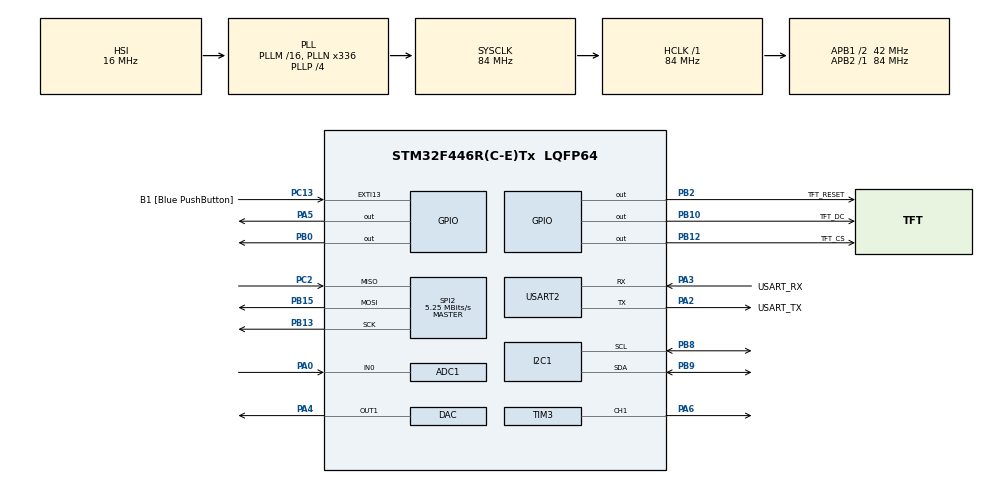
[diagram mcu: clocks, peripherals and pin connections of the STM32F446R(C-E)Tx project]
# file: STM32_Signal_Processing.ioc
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ADC1.Channel-0\#ChannelRegularConversion=ADC_CHANNEL_0
ADC1.DMAContinuousRequests=ENABLE
ADC1.ExternalTrigConv=ADC_EXTERNALTRIGCONV_T2_TRGO
ADC1.NbrOfConversion=1
ADC1.NbrOfConversionFlag=1
ADC1.Rank-0\#ChannelRegularConversion=1
ADC1.SamplingTime-0\#ChannelRegularConversion=ADC_SAMPLETIME_3CYCLES
ADC1.master=1
DAC.DAC_Trigger=DAC_TRIGGER_T6_TRGO
Dma.ADC1.0.Direction=DMA_PERIPH_TO_MEMORY
Dma.ADC1.0.FIFOMode=DMA_FIFOMODE_DISABLE
Dma.ADC1.0.Instance=DMA2_Stream0
Dma.ADC1.0.MemDataAlignment=DMA_MDATAALIGN_HALFWORD
Dma.ADC1.0.MemInc=DMA_MINC_ENABLE
Dma.ADC1.0.Mode=DMA_CIRCULAR
Dma.ADC1.0.PeriphDataAlignment=DMA_PDATAALIGN_HALFWORD
Dma.ADC1.0.PeriphInc=DMA_PINC_DISABLE
Dma.ADC1.0.Priority=DMA_PRIORITY_HIGH
Dma.DAC1.1.Direction=DMA_MEMORY_TO_PERIPH
Dma.DAC1.1.FIFOMode=DMA_FIFOMODE_DISABLE
Dma.DAC1.1.Instance=DMA1_Stream5
Dma.DAC1.1.MemDataAlignment=DMA_MDATAALIGN_HALFWORD
Dma.DAC1.1.MemInc=DMA_MINC_ENABLE
Dma.DAC1.1.Mode=DMA_CIRCULAR
Dma.DAC1.1.PeriphDataAlignment=DMA_PDATAALIGN_HALFWORD
Dma.DAC1.1.PeriphInc=DMA_PINC_DISABLE
Dma.DAC1.1.Priority=DMA_PRIORITY_LOW
Dma.Request0=ADC1
Dma.Request1=DAC1
FREERTOS.Queues01=frequencyQueue,4,float32_t,0,Dynamic,NULL,NULL
FREERTOS.Tasks01=uartTask,24,512,StartDefaultTask,Default,NULL,Dynamic,NULL,NULL;fftTask,32,1024,StartTask02,Default,NULL,Dynamic,NULL,NULL
FREERTOS.configUSE_NEWLIB_REENTRANT=1
Mcu.Family=STM32F4
Mcu.Name=STM32F446R(C-E)Tx
Mcu.Package=LQFP64
NVIC.DMA1_Stream5_IRQn=true\:5\:0\:false\:false\:true\:true\:false\:true\:true
NVIC.DMA2_Stream0_IRQn=true\:5\:0\:false\:false\:true\:true\:false\:true\:true
NVIC.PriorityGroup=NVIC_PRIORITYGROUP_4
NVIC.TIM2_IRQn=true\:5\:0\:false\:false\:true\:true\:true\:true\:true
NVIC.TIM7_IRQn=true\:15\:0\:false\:false\:true\:false\:false\:true\:true
NVIC.TimeBase=TIM7_IRQn
NVIC.TimeBaseIP=TIM7
PA0-WKUP.Signal=ADCx_IN0
PA13.GPIO_Label=TMS
PA13.Mode=Serial_Wire
PA13.Signal=SYS_JTMS-SWDIO
PA14.GPIO_Label=TCK
PA14.Mode=Serial_Wire
PA14.Signal=SYS_JTCK-SWCLK
PA2.GPIO_Label=USART_TX
PA2.Mode=Asynchronous
PA2.Signal=USART2_TX
PA3.GPIO_Label=USART_RX
PA3.Mode=Asynchronous
PA3.Signal=USART2_RX
PA4.Signal=COMP_DAC1_group
PA5.Signal=GPIO_Output
PA6.Signal=S_TIM3_CH1
PB0.Signal=GPIO_Output
PB10.GPIO_Label=TFT_DC
PB10.Signal=GPIO_Output
PB12.GPIO_Label=TFT_CS
PB12.PinState=GPIO_PIN_SET
PB12.Signal=GPIO_Output
PB13.Mode=Full_Duplex_Master
PB13.Signal=SPI2_SCK
PB15.Mode=Full_Duplex_Master
PB15.Signal=SPI2_MOSI
PB2.GPIO_Label=TFT_RESET
PB2.PinState=GPIO_PIN_SET
PB2.Signal=GPIO_Output
PB3.GPIO_Label=SWO
PB3.Signal=SYS_JTDO-SWO
PB8.Mode=I2C
PB8.Signal=I2C1_SCL
PB9.Mode=I2C
PB9.Signal=I2C1_SDA
PC13.GPIO_Label=B1 [Blue PushButton]
PC13.GPIO_ModeDefaultEXTI=GPIO_MODE_IT_FALLING
PC13.Signal=GPXTI13
PC14-OSC32_IN.Mode=LSE-External-Oscillator
PC14-OSC32_IN.Signal=RCC_OSC32_IN
PC15-OSC32_OUT.Mode=LSE-External-Oscillator
PC15-OSC32_OUT.Signal=RCC_OSC32_OUT
PC2.Mode=Full_Duplex_Master
PC2.Signal=SPI2_MISO
PH0-OSC_IN.Mode=HSE-External-Oscillator
PH0-OSC_IN.Signal=RCC_OSC_IN
PH1-OSC_OUT.Mode=HSE-External-Oscillator
PH1-OSC_OUT.Signal=RCC_OSC_OUT
ProjectManager.HeapSize=0x200
ProjectManager.StackSize=0x400
ProjectManager.TargetToolchain=STM32CubeIDE
RCC.48MHZClocksFreq_Value=84000000
RCC.AHBFreq_Value=84000000
RCC.APB1CLKDivider=RCC_HCLK_DIV2
RCC.APB1Freq_Value=42000000
RCC.APB1TimFreq_Value=84000000
RCC.APB2Freq_Value=84000000
RCC.APB2TimFreq_Value=84000000
RCC.CortexFreq_Value=84000000
RCC.FLatency-AdvancedSettings=FLASH_LATENCY_2
RCC.HCLKFreq_Value=84000000
RCC.HSE_VALUE=8000000
RCC.HSI_VALUE=16000000
RCC.PLLN=336
RCC.PLLP=RCC_PLLP_DIV4
RCC.SYSCLKFreq_VALUE=84000000
RCC.SYSCLKSource=RCC_SYSCLKSOURCE_PLLCLK
RCC.USBFreq_Value=168000000
RCC.VCOOutputFreq_Value=336000000
SH.ADCx_IN0.0=ADC1_IN0,IN0
SH.COMP_DAC1_group.0=DAC_OUT1,DAC_OUT1
SH.S_TIM3_CH1.0=TIM3_CH1,PWM Generation1 CH1
SPI2.BaudRatePrescaler=SPI_BAUDRATEPRESCALER_8
SPI2.CalculateBaudRate=5.25 MBits/s
SPI2.Direction=SPI_DIRECTION_2LINES
SPI2.Mode=SPI_MODE_MASTER
SPI2.VirtualType=VM_MASTER
TIM2.Period=61
TIM2.Prescaler=83
TIM2.TIM_MasterOutputTrigger=TIM_TRGO_UPDATE
TIM3.Channel-PWM\ Generation1\ CH1=TIM_CHANNEL_1
TIM3.Period=999
TIM3.Prescaler=83
TIM3.Pulse-PWM\ Generation1\ CH1=500
TIM6.Period=49
TIM6.Prescaler=104
TIM6.TIM_MasterOutputTrigger=TIM_TRGO_UPDATE
USART2.VirtualMode=VM_ASYNC
VP_FREERTOS_VS_CMSIS_V2.Mode=CMSIS_V2
VP_SYS_VS_tim7.Mode=TIM7
VP_TIM2_VS_ClockSourceINT.Mode=Internal
VP_TIM6_VS_ClockSourceINT.Mode=Enable_Timer
board=NUCLEO-F446RE

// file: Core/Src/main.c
/* USER CODE BEGIN Header */
/**
  ******************************************************************************
  * @file           : main.c
  * @brief          : Main program body
  ******************************************************************************
  * @attention
  *
  * Copyright (c) 2026 STMicroelectronics.
  * All rights reserved.
  *
  * This software is licensed under terms that can be found in the LICENSE file
  * in the root directory of this software component.
  * If no LICENSE file comes with this software, it is provided AS-IS.
  *
  ******************************************************************************
  */
/* USER CODE END Header */
#include "main.h"
#include "cmsis_os.h"

/* USER CODE BEGIN Includes */
#include <math.h>
#include "arm_math.h"
#include <stdio.h>
#include <string.h>
#include "queue.h"
#include "aht20.h"
#include "bmp280.h"
#include "sensor_task.h"
#include "st7735.h"
/* USER CODE END Includes */

/* USER CODE BEGIN PV */

/* Private variables ---------------------------------------------------------*/
ADC_HandleTypeDef hadc1;
DMA_HandleTypeDef hdma_adc1;

DAC_HandleTypeDef hdac;
DMA_HandleTypeDef hdma_dac1;

I2C_HandleTypeDef hi2c1;

SPI_HandleTypeDef hspi2;

TIM_HandleTypeDef htim2;
TIM_HandleTypeDef htim3;
TIM_HandleTypeDef htim6;

UART_HandleTypeDef huart2;

/* Definitions for uartTask */
osThreadId_t uartTaskHandle;
const osThreadAttr_t uartTask_attributes = {
  .name = "uartTask",
  .stack_size = 512 * 4,
  .priority = (osPriority_t) osPriorityNormal,
};
/* Definitions for fftTask */
osThreadId_t fftTaskHandle;
TaskHandle_t fftTaskNativeHandle = NULL;
const osThreadAttr_t fftTask_attributes = {
  .name = "fftTask",
  .stack_size = 1024 * 4,
  .priority = (osPriority_t) osPriorityAboveNormal,
};
/* Definitions for frequencyQueue */
osMessageQueueId_t frequencyQueueHandle;
osMessageQueueId_t tftFrequencyQueueHandle;
const osMessageQueueAttr_t frequencyQueue_attributes = {
  .name = "frequencyQueue"
};
osMessageQueueId_t adcEventQueueHandle;
osMessageQueueId_t sensorDataQueueHandle;
osMessageQueueId_t tftDataQueueHandle;
osThreadId_t sensorTaskHandle;
osThreadId_t sensorPrintTaskHandle;

volatile uint32_t main_counter = 0;
volatile uint32_t adc_value = 0;
volatile uint32_t adc_millivolts = 0;

#define ADC_BUFFER_SIZE 2048
uint16_t adc_buffer[ADC_BUFFER_SIZE];
volatile uint32_t adc_half_count = 0;
volatile uint32_t adc_full_count = 0;
volatile uint32_t adc_event_queue_overflow_count = 0;

/* CMSIS-DSP FFT */
#define FFT_SIZE 1024

float32_t fft_input[FFT_SIZE];
float32_t fft_output[FFT_SIZE];
float32_t fft_magnitude[FFT_SIZE / 2];
float32_t hann_window[FFT_SIZE];

volatile uint32_t fft_complete_count = 0;

volatile uint32_t fft_half_processed_count = 0;
volatile uint32_t fft_full_processed_count = 0;

volatile uint32_t fft_peak_bin = 0;
volatile float32_t fft_peak_frequency = 0.0f;
uint32_t fft_sample_index = 0;

arm_rfft_fast_instance_f32 fft_instance;

#define DAC_BUFFER_SIZE 256

uint16_t dac_buffer[DAC_BUFFER_SIZE];

osMutexId_t i2c1MutexHandle;
osMutexId_t uartMutexHandle;

/* USER CODE END PV */

void SystemClock_Config(void);
static void MX_GPIO_Init(void);
static void MX_DMA_Init(void);
static void MX_USART2_UART_Init(void);
static void MX_ADC1_Init(void);
static void MX_TIM2_Init(void);
static void MX_DAC_Init(void);
static void MX_TIM6_Init(void);
static void MX_TIM3_Init(void);
static void MX_I2C1_Init(void);
static void MX_SPI2_Init(void);
void StartDefaultTask(void *argument);
void StartTask02(void *argument);

/* USER CODE BEGIN PFP */
void ProcessFFT(void);
/* USER CODE END PFP */

/* USER CODE BEGIN 0 */
int __io_putchar(int ch)
{
    HAL_UART_Transmit(&huart2, (uint8_t *)&ch, 1, HAL_MAX_DELAY);
    return ch;
}
/* USER CODE END 0 */

int main(void)
{

  /* MCU Configuration--------------------------------------------------------*/

  /* Reset of all peripherals, Initializes the Flash interface and the Systick. */
  HAL_Init();

  /* Configure the system clock */
  SystemClock_Config();

  /* Initialize all configured peripherals */
  MX_GPIO_Init();
  MX_DMA_Init();
  MX_USART2_UART_Init();
  MX_ADC1_Init();
  MX_TIM2_Init();
  MX_DAC_Init();
  MX_TIM6_Init();
  MX_TIM3_Init();
  MX_I2C1_Init();
  MX_SPI2_Init();
  /* USER CODE BEGIN 2 */

  if (ST7735_Init(&hspi2) != HAL_OK)
  {
      Error_Handler();
  }

  ST7735_FillScreen(ST7735_BLACK);

  HAL_StatusTypeDef aht20_status;
  HAL_StatusTypeDef bmp280_76_status;
  HAL_StatusTypeDef bmp280_77_status;

  aht20_status = HAL_I2C_IsDeviceReady(&hi2c1,
                                       (0x38 << 1),
                                       3,
                                       100);

  bmp280_76_status = HAL_I2C_IsDeviceReady(&hi2c1,
                                          (0x76 << 1),
                                          3,
                                          100);

  bmp280_77_status = HAL_I2C_IsDeviceReady(&hi2c1,
                                          (0x77 << 1),
                                          3,
                                          100);

  printf("AHT20 (0x38): %s\r\n",
         (aht20_status == HAL_OK) ? "FOUND" : "NOT FOUND");

  printf("BMP280 (0x76): %s\r\n",
         (bmp280_76_status == HAL_OK) ? "FOUND" : "NOT FOUND");

  printf("BMP280 (0x77): %s\r\n",
         (bmp280_77_status == HAL_OK) ? "FOUND" : "NOT FOUND");

  HAL_StatusTypeDef aht20_init_status;

  aht20_init_status = AHT20_Init(&hi2c1);

  printf("AHT20 initialisation: %s\r\n",
         (aht20_init_status == HAL_OK) ? "OK" : "FAILED");

  float aht20_temperature = 0.0f;
  float aht20_humidity = 0.0f;

  HAL_StatusTypeDef aht20_read_status;

  aht20_read_status = AHT20_Read(&hi2c1,
                                 &aht20_temperature,
                                 &aht20_humidity);

  if (aht20_read_status == HAL_OK)
  {
      printf("AHT20 Temperature: %.2f C\r\n", aht20_temperature);
      printf("AHT20 Humidity: %.2f %%\r\n", aht20_humidity);
  }
  else
  {
      printf("AHT20 measurement failed: %d\r\n",
             (int)aht20_read_status);
  }

  /* ---------- BMP280 chip ID ---------- */

  uint8_t bmp280_chip_id = 0;
  HAL_StatusTypeDef bmp280_id_status;

  bmp280_id_status = BMP280_ReadChipID(&hi2c1, &bmp280_chip_id);

  if (bmp280_id_status == HAL_OK)
  {
      printf("BMP280 Chip ID: 0x%02X\r\n", bmp280_chip_id);

      if (bmp280_chip_id == 0x58)
      {
          printf("BMP280 chip ID check: PASS\r\n");
      }
      else
      {
          printf("BMP280 chip ID check: UNEXPECTED ID\r\n");
      }
  }
  else
  {
      printf("BMP280 chip ID read failed: %d\r\n",
             (int)bmp280_id_status);
  }

  /* ---------- BMP280 initialisation ---------- */

  HAL_StatusTypeDef bmp280_init_status;

  bmp280_init_status = BMP280_Init(&hi2c1);

  printf("BMP280 initialisation: %s\r\n",
         (bmp280_init_status == HAL_OK) ? "OK" : "FAILED");

  if (bmp280_init_status != HAL_OK)
  {
      printf("Stopping BMP280 test because initialisation failed.\r\n");
  }
  else
  {
      /* ---------- Read calibration coefficients ---------- */

      BMP280_Calibration bmp280_cal;
      HAL_StatusTypeDef bmp280_cal_status;

      bmp280_cal_status = BMP280_ReadCalibration(&hi2c1, &bmp280_cal);

      if (bmp280_cal_status == HAL_OK)
      {
          printf("BMP280 Calibration:\r\n");

          printf("T1=%u, T2=%d, T3=%d\r\n",
                 (unsigned int)bmp280_cal.dig_T1,
                 (int)bmp280_cal.dig_T2,
                 (int)bmp280_cal.dig_T3);

          printf("P1=%u, P2=%d, P3=%d\r\n",
                 (unsigned int)bmp280_cal.dig_P1,
                 (int)bmp280_cal.dig_P2,
                 (int)bmp280_cal.dig_P3);

          printf("P4=%d, P5=%d, P6=%d\r\n",
                 (int)bmp280_cal.dig_P4,
                 (int)bmp280_cal.dig_P5,
                 (int)bmp280_cal.dig_P6);

          printf("P7=%d, P8=%d, P9=%d\r\n",
                 (int)bmp280_cal.dig_P7,
                 (int)bmp280_cal.dig_P8,
                 (int)bmp280_cal.dig_P9);

          /* ---------- Compare two raw readings ---------- */

          uint32_t raw_pressure_1 = 0;
          uint32_t raw_temperature_1 = 0;
          uint32_t raw_pressure_2 = 0;
          uint32_t raw_temperature_2 = 0;

          HAL_StatusTypeDef raw_status_1;
          HAL_StatusTypeDef raw_status_2;

          raw_status_1 = BMP280_ReadRawData(
              &hi2c1,
              &raw_pressure_1,
              &raw_temperature_1);

          HAL_Delay(10);

          raw_status_2 = BMP280_ReadRawData(
              &hi2c1,
              &raw_pressure_2,
              &raw_temperature_2);

          if (raw_status_1 == HAL_OK)
          {
              printf("Raw reading 1: pressure=%lu, temperature=%lu\r\n",
                     (unsigned long)raw_pressure_1,
                     (unsigned long)raw_temperature_1);
          }
          else
          {
              printf("Raw reading 1 failed: %d\r\n",
                     (int)raw_status_1);
          }

          if (raw_status_2 == HAL_OK)
          {
              printf("Raw reading 2: pressure=%lu, temperature=%lu\r\n",
                     (unsigned long)raw_pressure_2,
                     (unsigned long)raw_temperature_2);
          }
          else
          {
              printf("Raw reading 2 failed: %d\r\n",
                     (int)raw_status_2);
          }

          /* ---------- Read compensated temperature ---------- */

          float bmp280_temperature = 0.0f;
          HAL_StatusTypeDef bmp280_temp_status;

          bmp280_temp_status = BMP280_ReadTemperature(
              &hi2c1,
              &bmp280_cal,
              &bmp280_temperature);

          if (bmp280_temp_status == HAL_OK)
          {
              printf("BMP280 Temperature: %.2f C\r\n",
                     bmp280_temperature);
          }
          else
          {
              printf("BMP280 temperature read failed: %d\r\n",
                     (int)bmp280_temp_status);
          }

          /* ---------- Read compensated pressure ---------- */

          float bmp280_pressure_hpa = 0.0f;
          HAL_StatusTypeDef bmp280_pressure_status;

          /*
           * ReadTemperature() must run first because it calculates
           * bmp280_t_fine, which the pressure compensation uses.
           */
          if (bmp280_temp_status == HAL_OK)
          {
              bmp280_pressure_status = BMP280_ReadPressure(
                  &hi2c1,
                  &bmp280_cal,
                  &bmp280_pressure_hpa);

              if (bmp280_pressure_status == HAL_OK)
              {
                  printf("BMP280 Pressure: %.2f hPa\r\n",
                         bmp280_pressure_hpa);
              }
              else
              {
                  printf("BMP280 pressure read failed: %d\r\n",
                         (int)bmp280_pressure_status);
              }
          }
          else
          {
              printf("Skipping pressure compensation because "
                     "temperature reading failed.\r\n");
          }
      }
      else
      {
          printf("BMP280 calibration read failed: %d\r\n",
                 (int)bmp280_cal_status);
      }
  }

  arm_rfft_fast_init_f32(&fft_instance, FFT_SIZE);

  /* Pre-calculate the Hann window coefficients. */
  for (uint32_t i = 0; i < FFT_SIZE; i++)
  {
      hann_window[i] = 0.5f * (1.0f - cosf(
          (2.0f * 3.14159265358979f * (float32_t)i)
          / (float32_t)(FFT_SIZE - 1)
      ));
  }

  for (uint32_t i = 0; i < DAC_BUFFER_SIZE; i++)
  {
      float32_t angle = 2.0f * 3.14159265358979f
                      * (float32_t)i / (float32_t)DAC_BUFFER_SIZE;

      dac_buffer[i] = (uint16_t)(1241.0f + 1241.0f * sinf(angle));
  }

  /* USER CODE END 2 */

  /* Init scheduler */
  osKernelInitialize();

  /* USER CODE BEGIN RTOS_MUTEX */
  i2c1MutexHandle = osMutexNew(NULL);

  if (i2c1MutexHandle == NULL)
  {
      Error_Handler();
  }

  /* Create mutex to protect UART transmissions. */
  uartMutexHandle = osMutexNew(NULL);

  if (uartMutexHandle == NULL)
  {
      Error_Handler();
  }
  /* USER CODE END RTOS_MUTEX */

  /* USER CODE BEGIN RTOS_QUEUES */
  /* Create the queue(s) */
  /* creation of frequencyQueue */
  frequencyQueueHandle = osMessageQueueNew (4, sizeof(float32_t), &frequencyQueue_attributes);
  tftFrequencyQueueHandle = osMessageQueueNew(
      4, sizeof(float32_t), NULL);

  if (tftFrequencyQueueHandle == NULL)
  {
      Error_Handler();
  }
  adcEventQueueHandle = osMessageQueueNew(
        8,
        sizeof(uint32_t),
        NULL);
  sensorDataQueueHandle = osMessageQueueNew(
      4,
      sizeof(SensorData),
      NULL
  );
  if (sensorDataQueueHandle == NULL)
  {
      Error_Handler();
  }
  tftDataQueueHandle = osMessageQueueNew(4, sizeof(SensorData), NULL);

  if (tftDataQueueHandle == NULL)
  {
      Error_Handler();
  }
  /* USER CODE END RTOS_QUEUES */

  /* USER CODE BEGIN RTOS_THREADS */

  /* Create the thread(s) */
  /* creation of uartTask */
  uartTaskHandle = osThreadNew(StartDefaultTask, NULL, &uartTask_attributes);

  /* creation of fftTask */
  fftTaskHandle = osThreadNew(StartTask02, NULL, &fftTask_attributes);
  fftTaskNativeHandle = (TaskHandle_t)fftTaskHandle;

  const osThreadAttr_t sensorTask_attributes = {
      .name = "SensorTask",
      .stack_size = 1024,
      .priority = osPriorityNormal
  };

  sensorTaskHandle = osThreadNew(
      StartSensorTask,
      NULL,
      &sensorTask_attributes
  );

  if (sensorTaskHandle == NULL)
  {
      Error_Handler();
  }

  const osThreadAttr_t sensorPrintTask_attributes = {
      .name = "SensorPrintTask",
      .stack_size = 1024,
      .priority = osPriorityBelowNormal
  };

  sensorPrintTaskHandle = osThreadNew(
      StartSensorPrintTask,
      NULL,
      &sensorPrintTask_attributes
  );

  if (sensorPrintTaskHandle == NULL)
  {
      Error_Handler();
  }

  const osThreadAttr_t tftTask_attributes = {
      .name = "TFTTask",
      .stack_size = 1024,
      .priority = osPriorityBelowNormal
  };

  osThreadId_t tftTaskHandle = osThreadNew(StartTFTTask, NULL,
                                           &tftTask_attributes);

  if (tftTaskHandle == NULL)
  {
      Error_Handler();
  }

  /* USER CODE END RTOS_THREADS */

  /* Start scheduler */
  osKernelStart();

  /* We should never get here as control is now taken by the scheduler */

  /* Infinite loop */
  while (1)
  {

  }
}

void SystemClock_Config(void)
{
  RCC_OscInitTypeDef RCC_OscInitStruct = {0};
  RCC_ClkInitTypeDef RCC_ClkInitStruct = {0};

  /** Configure the main internal regulator output voltage
  */
  __HAL_RCC_PWR_CLK_ENABLE();
  __HAL_PWR_VOLTAGESCALING_CONFIG(PWR_REGULATOR_VOLTAGE_SCALE3);

  /** Initializes the RCC Oscillators according to the specified parameters
  * in the RCC_OscInitTypeDef structure.
  */
  RCC_OscInitStruct.OscillatorType = RCC_OSCILLATORTYPE_HSI;
  RCC_OscInitStruct.HSIState = RCC_HSI_ON;
  RCC_OscInitStruct.HSICalibrationValue = RCC_HSICALIBRATION_DEFAULT;
  RCC_OscInitStruct.PLL.PLLState = RCC_PLL_ON;
  RCC_OscInitStruct.PLL.PLLSource = RCC_PLLSOURCE_HSI;
  RCC_OscInitStruct.PLL.PLLM = 16;
  RCC_OscInitStruct.PLL.PLLN = 336;
  RCC_OscInitStruct.PLL.PLLP = RCC_PLLP_DIV4;
  RCC_OscInitStruct.PLL.PLLQ = 2;
  RCC_OscInitStruct.PLL.PLLR = 2;
  if (HAL_RCC_OscConfig(&RCC_OscInitStruct) != HAL_OK)
  {
    Error_Handler();
  }

  /** Initializes the CPU, AHB and APB buses clocks
  */
  RCC_ClkInitStruct.ClockType = RCC_CLOCKTYPE_HCLK|RCC_CLOCKTYPE_SYSCLK
                              |RCC_CLOCKTYPE_PCLK1|RCC_CLOCKTYPE_PCLK2;
  RCC_ClkInitStruct.SYSCLKSource = RCC_SYSCLKSOURCE_PLLCLK;
  RCC_ClkInitStruct.AHBCLKDivider = RCC_SYSCLK_DIV1;
  RCC_ClkInitStruct.APB1CLKDivider = RCC_HCLK_DIV2;
  RCC_ClkInitStruct.APB2CLKDivider = RCC_HCLK_DIV1;

  if (HAL_RCC_ClockConfig(&RCC_ClkInitStruct, FLASH_LATENCY_2) != HAL_OK)
  {
    Error_Handler();
  }
}

static void MX_ADC1_Init(void)
{

  ADC_ChannelConfTypeDef sConfig = {0};

  /** Configure the global features of the ADC (Clock, Resolution, Data Alignment and number of conversion)
  */
  hadc1.Instance = ADC1;
  hadc1.Init.ClockPrescaler = ADC_CLOCK_SYNC_PCLK_DIV4;
  hadc1.Init.Resolution = ADC_RESOLUTION_12B;
  hadc1.Init.ScanConvMode = DISABLE;
  hadc1.Init.ContinuousConvMode = DISABLE;
  hadc1.Init.DiscontinuousConvMode = DISABLE;
  hadc1.Init.ExternalTrigConvEdge = ADC_EXTERNALTRIGCONVEDGE_RISING;
  hadc1.Init.ExternalTrigConv = ADC_EXTERNALTRIGCONV_T2_TRGO;
  hadc1.Init.DataAlign = ADC_DATAALIGN_RIGHT;
  hadc1.Init.NbrOfConversion = 1;
  hadc1.Init.DMAContinuousRequests = ENABLE;
  hadc1.Init.EOCSelection = ADC_EOC_SINGLE_CONV;
  if (HAL_ADC_Init(&hadc1) != HAL_OK)
  {
    Error_Handler();
  }

  /** Configure for the selected ADC regular channel its corresponding rank in the sequencer and its sample time.
  */
  sConfig.Channel = ADC_CHANNEL_0;
  sConfig.Rank = 1;
  sConfig.SamplingTime = ADC_SAMPLETIME_3CYCLES;
  if (HAL_ADC_ConfigChannel(&hadc1, &sConfig) != HAL_OK)
  {
    Error_Handler();
  }

}

static void MX_DAC_Init(void)
{

  DAC_ChannelConfTypeDef sConfig = {0};

  /** DAC Initialization
  */
  hdac.Instance = DAC;
  if (HAL_DAC_Init(&hdac) != HAL_OK)
  {
    Error_Handler();
  }

  /** DAC channel OUT1 config
  */
  sConfig.DAC_Trigger = DAC_TRIGGER_T6_TRGO;
  sConfig.DAC_OutputBuffer = DAC_OUTPUTBUFFER_ENABLE;
  if (HAL_DAC_ConfigChannel(&hdac, &sConfig, DAC_CHANNEL_1) != HAL_OK)
  {
    Error_Handler();
  }

}

static void MX_I2C1_Init(void)
{

  hi2c1.Instance = I2C1;
  hi2c1.Init.ClockSpeed = 100000;
  hi2c1.Init.DutyCycle = I2C_DUTYCYCLE_2;
  hi2c1.Init.OwnAddress1 = 0;
  hi2c1.Init.AddressingMode = I2C_ADDRESSINGMODE_7BIT;
  hi2c1.Init.DualAddressMode = I2C_DUALADDRESS_DISABLE;
  hi2c1.Init.OwnAddress2 = 0;
  hi2c1.Init.GeneralCallMode = I2C_GENERALCALL_DISABLE;
  hi2c1.Init.NoStretchMode = I2C_NOSTRETCH_DISABLE;
  if (HAL_I2C_Init(&hi2c1) != HAL_OK)
  {
    Error_Handler();
  }

}

static void MX_SPI2_Init(void)
{

  /* SPI2 parameter configuration*/
  hspi2.Instance = SPI2;
  hspi2.Init.Mode = SPI_MODE_MASTER;
  hspi2.Init.Direction = SPI_DIRECTION_2LINES;
  hspi2.Init.DataSize = SPI_DATASIZE_8BIT;
  hspi2.Init.CLKPolarity = SPI_POLARITY_LOW;
  hspi2.Init.CLKPhase = SPI_PHASE_1EDGE;
  hspi2.Init.NSS = SPI_NSS_SOFT;
  hspi2.Init.BaudRatePrescaler = SPI_BAUDRATEPRESCALER_8;
  hspi2.Init.FirstBit = SPI_FIRSTBIT_MSB;
  hspi2.Init.TIMode = SPI_TIMODE_DISABLE;
  hspi2.Init.CRCCalculation = SPI_CRCCALCULATION_DISABLE;
  hspi2.Init.CRCPolynomial = 10;
  if (HAL_SPI_Init(&hspi2) != HAL_OK)
  {
    Error_Handler();
  }

}

static void MX_TIM2_Init(void)
{

  TIM_ClockConfigTypeDef sClockSourceConfig = {0};
  TIM_MasterConfigTypeDef sMasterConfig = {0};

  htim2.Instance = TIM2;
  htim2.Init.Prescaler = 83;
  htim2.Init.CounterMode = TIM_COUNTERMODE_UP;
  htim2.Init.Period = 61;
  htim2.Init.ClockDivision = TIM_CLOCKDIVISION_DIV1;
  htim2.Init.AutoReloadPreload = TIM_AUTORELOAD_PRELOAD_DISABLE;
  if (HAL_TIM_Base_Init(&htim2) != HAL_OK)
  {
    Error_Handler();
  }
  sClockSourceConfig.ClockSource = TIM_CLOCKSOURCE_INTERNAL;
  if (HAL_TIM_ConfigClockSource(&htim2, &sClockSourceConfig) != HAL_OK)
  {
    Error_Handler();
  }
  sMasterConfig.MasterOutputTrigger = TIM_TRGO_UPDATE;
  sMasterConfig.MasterSlaveMode = TIM_MASTERSLAVEMODE_DISABLE;
  if (HAL_TIMEx_MasterConfigSynchronization(&htim2, &sMasterConfig) != HAL_OK)
  {
    Error_Handler();
  }

}

static void MX_TIM3_Init(void)
{

  TIM_MasterConfigTypeDef sMasterConfig = {0};
  TIM_OC_InitTypeDef sConfigOC = {0};

  htim3.Instance = TIM3;
  htim3.Init.Prescaler = 83;
  htim3.Init.CounterMode = TIM_COUNTERMODE_UP;
  htim3.Init.Period = 999;
  htim3.Init.ClockDivision = TIM_CLOCKDIVISION_DIV1;
  htim3.Init.AutoReloadPreload = TIM_AUTORELOAD_PRELOAD_DISABLE;
  if (HAL_TIM_PWM_Init(&htim3) != HAL_OK)
  {
    Error_Handler();
  }
  sMasterConfig.MasterOutputTrigger = TIM_TRGO_RESET;
  sMasterConfig.MasterSlaveMode = TIM_MASTERSLAVEMODE_DISABLE;
  if (HAL_TIMEx_MasterConfigSynchronization(&htim3, &sMasterConfig) != HAL_OK)
  {
    Error_Handler();
  }
  sConfigOC.OCMode = TIM_OCMODE_PWM1;
  sConfigOC.Pulse = 500;
  sConfigOC.OCPolarity = TIM_OCPOLARITY_HIGH;
  sConfigOC.OCFastMode = TIM_OCFAST_DISABLE;
  if (HAL_TIM_PWM_ConfigChannel(&htim3, &sConfigOC, TIM_CHANNEL_1) != HAL_OK)
  {
    Error_Handler();
  }
  HAL_TIM_MspPostInit(&htim3);

}

static void MX_TIM6_Init(void)
{

  TIM_MasterConfigTypeDef sMasterConfig = {0};

  htim6.Instance = TIM6;
  htim6.Init.Prescaler = 104;
  htim6.Init.CounterMode = TIM_COUNTERMODE_UP;
  htim6.Init.Period = 49;
  htim6.Init.AutoReloadPreload = TIM_AUTORELOAD_PRELOAD_DISABLE;
  if (HAL_TIM_Base_Init(&htim6) != HAL_OK)
  {
    Error_Handler();
  }
  sMasterConfig.MasterOutputTrigger = TIM_TRGO_UPDATE;
  sMasterConfig.MasterSlaveMode = TIM_MASTERSLAVEMODE_DISABLE;
  if (HAL_TIMEx_MasterConfigSynchronization(&htim6, &sMasterConfig) != HAL_OK)
  {
    Error_Handler();
  }

}

static void MX_USART2_UART_Init(void)
{

  huart2.Instance = USART2;
  huart2.Init.BaudRate = 115200;
  huart2.Init.WordLength = UART_WORDLENGTH_8B;
  huart2.Init.StopBits = UART_STOPBITS_1;
  huart2.Init.Parity = UART_PARITY_NONE;
  huart2.Init.Mode = UART_MODE_TX_RX;
  huart2.Init.HwFlowCtl = UART_HWCONTROL_NONE;
  huart2.Init.OverSampling = UART_OVERSAMPLING_16;
  if (HAL_UART_Init(&huart2) != HAL_OK)
  {
    Error_Handler();
  }

}

static void MX_DMA_Init(void)
{

  /* DMA controller clock enable */
  __HAL_RCC_DMA2_CLK_ENABLE();
  __HAL_RCC_DMA1_CLK_ENABLE();

  /* DMA interrupt init */
  /* DMA1_Stream5_IRQn interrupt configuration */
  HAL_NVIC_SetPriority(DMA1_Stream5_IRQn, 5, 0);
  HAL_NVIC_EnableIRQ(DMA1_Stream5_IRQn);
  /* DMA2_Stream0_IRQn interrupt configuration */
  HAL_NVIC_SetPriority(DMA2_Stream0_IRQn, 5, 0);
  HAL_NVIC_EnableIRQ(DMA2_Stream0_IRQn);

}

static void MX_GPIO_Init(void)
{
  GPIO_InitTypeDef GPIO_InitStruct = {0};

  /* GPIO Ports Clock Enable */
  __HAL_RCC_GPIOC_CLK_ENABLE();
  __HAL_RCC_GPIOH_CLK_ENABLE();
  __HAL_RCC_GPIOA_CLK_ENABLE();
  __HAL_RCC_GPIOB_CLK_ENABLE();

  /*Configure GPIO pin Output Level */
  HAL_GPIO_WritePin(GPIOA, GPIO_PIN_5, GPIO_PIN_RESET);

  /*Configure GPIO pin Output Level */
  HAL_GPIO_WritePin(GPIOB, GPIO_PIN_0|TFT_DC_Pin, GPIO_PIN_RESET);

  /*Configure GPIO pin Output Level */
  HAL_GPIO_WritePin(GPIOB, TFT_RESET_Pin|TFT_CS_Pin, GPIO_PIN_SET);

  /*Configure GPIO pin : B1_Pin */
  GPIO_InitStruct.Pin = B1_Pin;
  GPIO_InitStruct.Mode = GPIO_MODE_IT_FALLING;
  GPIO_InitStruct.Pull = GPIO_NOPULL;
  HAL_GPIO_Init(B1_GPIO_Port, &GPIO_InitStruct);

  /*Configure GPIO pin : PA5 */
  GPIO_InitStruct.Pin = GPIO_PIN_5;
  GPIO_InitStruct.Mode = GPIO_MODE_OUTPUT_PP;
  GPIO_InitStruct.Pull = GPIO_NOPULL;
  GPIO_InitStruct.Speed = GPIO_SPEED_FREQ_LOW;
  HAL_GPIO_Init(GPIOA, &GPIO_InitStruct);

  /*Configure GPIO pins : PB0 TFT_RESET_Pin TFT_DC_Pin TFT_CS_Pin */
  GPIO_InitStruct.Pin = GPIO_PIN_0|TFT_RESET_Pin|TFT_DC_Pin|TFT_CS_Pin;
  GPIO_InitStruct.Mode = GPIO_MODE_OUTPUT_PP;
  GPIO_InitStruct.Pull = GPIO_NOPULL;
  GPIO_InitStruct.Speed = GPIO_SPEED_FREQ_LOW;
  HAL_GPIO_Init(GPIOB, &GPIO_InitStruct);

}

/* USER CODE BEGIN 4 */

void HAL_ADC_ConvHalfCpltCallback(ADC_HandleTypeDef *hadc)
{
    if (hadc->Instance == ADC1)
    {
        adc_half_count++;

        uint32_t event = 1U;
        BaseType_t xHigherPriorityTaskWoken = pdFALSE;

        if (xQueueSendFromISR(
                adcEventQueueHandle,
                &event,
                &xHigherPriorityTaskWoken) != pdPASS)
        {
            adc_event_queue_overflow_count++;
        }

        portYIELD_FROM_ISR(xHigherPriorityTaskWoken);
    }
}

void HAL_ADC_ConvCpltCallback(ADC_HandleTypeDef *hadc)
{
    if (hadc->Instance == ADC1)
    {
        adc_full_count++;

        uint32_t event = 2U;
        BaseType_t xHigherPriorityTaskWoken = pdFALSE;

        if (xQueueSendFromISR(
                adcEventQueueHandle,
                &event,
                &xHigherPriorityTaskWoken) != pdPASS)
        {
            adc_event_queue_overflow_count++;
        }

        portYIELD_FROM_ISR(xHigherPriorityTaskWoken);
    }
}

void ProcessFFT(void)
{
    float32_t mean = 0.0f;

    /* Calculate the mean ADC value to remove the DC offset. */
    for (uint32_t i = 0; i < FFT_SIZE; i++)
    {
        mean += (float32_t)fft_input[i];
    }

    mean /= (float32_t)FFT_SIZE;

    /* Remove DC offset. */
    for (uint32_t i = 0; i < FFT_SIZE; i++)
    {
        fft_input[i] -= mean;
    }

    /* Apply the Hann window. */
    for (uint32_t i = 0; i < FFT_SIZE; i++)
    {
        fft_input[i] *= hann_window[i];
    }

    /* Perform the real FFT. */
    arm_rfft_fast_f32(&fft_instance, fft_input, fft_output, 0);

    /* Calculate magnitudes for bins 1 to 511. */
    for (uint32_t i = 1; i < FFT_SIZE / 2; i++)
    {
        float32_t real = fft_output[2 * i];
        float32_t imag = fft_output[2 * i + 1];

        fft_magnitude[i] = sqrtf((real * real) + (imag * imag));
    }

    /* Find the FFT bin with the largest magnitude. */
    float32_t max_magnitude = 0.0f;
    uint32_t peak_bin = 1;

    for (uint32_t i = 1; i < FFT_SIZE / 2; i++)
    {
        if (fft_magnitude[i] > max_magnitude)
        {
            max_magnitude = fft_magnitude[i];
            peak_bin = i;
        }
    }

    /* Estimate the peak position using parabolic interpolation. */
    float32_t left = fft_magnitude[peak_bin - 1];
    float32_t centre = fft_magnitude[peak_bin];
    float32_t right = fft_magnitude[peak_bin + 1];

    float32_t denominator = left - (2.0f * centre) + right;
    float32_t offset = 0.0f;

    if (denominator != 0.0f)
    {
        offset = 0.5f * (left - right) / denominator;
    }

    /* Convert the interpolated bin position into frequency in Hz. */
    fft_peak_bin = peak_bin;
    fft_peak_frequency =
        ((float32_t)peak_bin + offset) * 16129.03f / (float32_t)FFT_SIZE;

    fft_complete_count++;
}

/* USER CODE END 4 */

void StartDefaultTask(void *argument)
{
  /* USER CODE BEGIN 5 */
  /* Infinite loop */
	for (;;)
	{
	    float32_t frequency;

	    if (osMessageQueueGet(frequencyQueueHandle,
	                          &frequency,
	                          NULL,
	                          osWaitForever) == osOK)
	    {
	        char uart_message[64];

	        int length = snprintf(uart_message,
	                              sizeof(uart_message),
	                              "Frequency: %.1f Hz\r\n",
	                              (double)frequency);

	        if (length > 0 && length < sizeof(uart_message))
	        {
	        	if (osMutexAcquire(uartMutexHandle, osWaitForever) == osOK)
	        	{
	        	    HAL_UART_Transmit(&huart2,
	        	                      (uint8_t *)uart_message,
	        	                      (uint16_t)length,
	        	                      HAL_MAX_DELAY);

	        	    osMutexRelease(uartMutexHandle);
	        	}
	        }
	    }
	}
  /* USER CODE END 5 */
}

void StartTask02(void *argument)
{
  /* USER CODE BEGIN StartTask02 */
	/* Start peripherals here */
	  if (HAL_DAC_Start_DMA(&hdac,
	                        DAC_CHANNEL_1,
	                        (uint32_t *)dac_buffer,
	                        DAC_BUFFER_SIZE,
	                        DAC_ALIGN_12B_R) != HAL_OK)
	  {
	      Error_Handler();
	  }

	  HAL_ADC_Start_DMA(&hadc1, (uint32_t *)adc_buffer, ADC_BUFFER_SIZE);
	  HAL_TIM_Base_Start(&htim2);

	  if (HAL_TIM_Base_Start(&htim6) != HAL_OK)
	  {
	      Error_Handler();
	  }

	  if (HAL_TIM_PWM_Start(&htim3, TIM_CHANNEL_1) != HAL_OK)
	  {
	      Error_Handler();
	  }
    for (;;)
    {
    	/* Wait for the next ADC DMA event. */
    	uint32_t event = 0;

    	if (osMessageQueueGet(
    	        adcEventQueueHandle,
    	        &event,
    	        NULL,
    	        osWaitForever) == osOK)
    	{
    	    if (event == 1U)
    	    {
    	        /* Process the first half of the DMA buffer. */
    	        HAL_GPIO_WritePin(GPIOB, GPIO_PIN_0, GPIO_PIN_SET);

    	        for (uint32_t i = 0; i < FFT_SIZE; i++)
    	        {
    	            fft_input[i] = (float32_t)adc_buffer[i];
    	        }

    	        ProcessFFT();

    	        HAL_GPIO_WritePin(GPIOB, GPIO_PIN_0, GPIO_PIN_RESET);

    	        float32_t frequency = fft_peak_frequency;

    	        osMessageQueuePut(
    	            frequencyQueueHandle,
    	            &frequency,
    	            0,
    	            0
    	        );
    	        (void)osMessageQueuePut(tftFrequencyQueueHandle,
    	                                &frequency,
    	                                0U,
    	                                0U);

    	        fft_half_processed_count++;
    	    }
    	    else if (event == 2U)
    	    {
    	        /* Process the second half of the DMA buffer. */
    	        HAL_GPIO_WritePin(GPIOB, GPIO_PIN_0, GPIO_PIN_SET);

    	        for (uint32_t i = 0; i < FFT_SIZE; i++)
    	        {
    	            fft_input[i] = (float32_t)adc_buffer[i + FFT_SIZE];
    	        }

    	        ProcessFFT();

    	        HAL_GPIO_WritePin(GPIOB, GPIO_PIN_0, GPIO_PIN_RESET);

    	        float32_t frequency = fft_peak_frequency;

    	        osMessageQueuePut(
    	            frequencyQueueHandle,
    	            &frequency,
    	            0,
    	            0
    	        );
    	        (void)osMessageQueuePut(tftFrequencyQueueHandle,
    	                                &frequency,
    	                                0U,
    	                                0U);

    	        fft_full_processed_count++;
    	    }
    	}

    	osDelay(1);
    }
  /* USER CODE END StartTask02 */
}

void HAL_TIM_PeriodElapsedCallback(TIM_HandleTypeDef *htim)
{
  if (htim->Instance == TIM7)
  {
    HAL_IncTick();
  }
}

void Error_Handler(void)
{
  __disable_irq();
  while (1)
  {
  }
}
